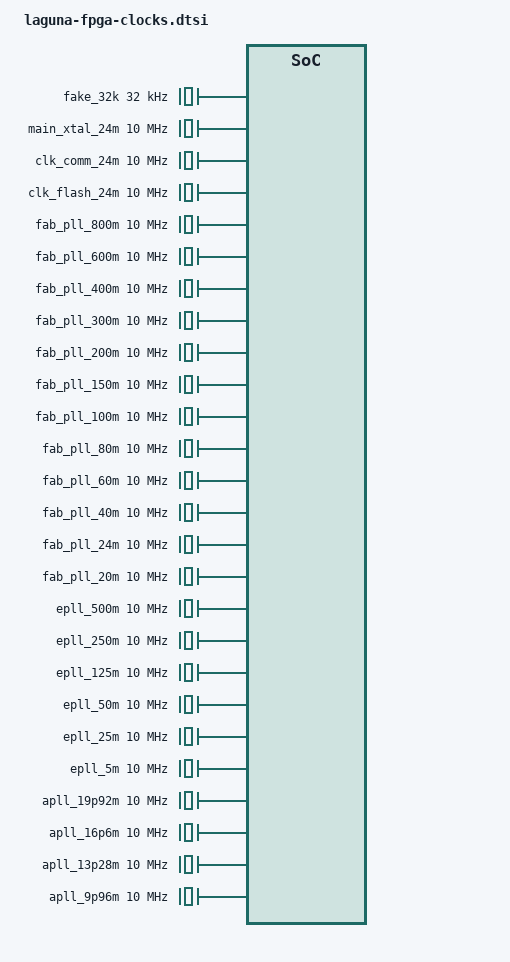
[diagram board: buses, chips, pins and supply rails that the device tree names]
/* SPDX-License-Identifier: GPL-2.0+
 *
 * Device Tree Source for Laguna HAPS FPGA clock tree
 *
 * Copyright (C) 2024 Charleye <wangkart@aliyun.com>
 */

/ {
	fake_32k: fake_32k {
		compatible = "fixed-clock";
		#clock-cells = <0>;
		clock-frequency = <32000>;
		clock-output-names = "fake_32k";
	};

	main_xtal_24m: main_xtal_24m {
		compatible = "fixed-clock";
		#clock-cells = <0>;
		clock-frequency = <10000000>;
		clock-output-names = "main_xtal_24m";
	};

	clk_comm_24m: clk_comm_24m {
		compatible = "fixed-clock";
		#clock-cells = <0>;
		clock-frequency = <10000000>;
		clock-output-names = "clk_comm_24m";
	};

	clk_flash_24m: clk_flash_24m {
		compatible = "fixed-clock";
		#clock-cells = <0>;
		clock-frequency = <10000000>;
		clock-output-names = "clk_flash_24m";
	};

	fab_pll_800m: fab_pll_800m {
		compatible = "fixed-clock";
		#clock-cells = <0>;
		clock-frequency = <10000000>;
		clock-output-names = "fab_pll_800m";
	};

	fab_pll_600m: fab_pll_600m {
		compatible = "fixed-clock";
		#clock-cells = <0>;
		clock-frequency = <10000000>;
		clock-output-names = "fab_pll_600m";
	};

	fab_pll_400m: fab_pll_400m {
		compatible = "fixed-clock";
		#clock-cells = <0>;
		clock-frequency = <10000000>;
		clock-output-names = "fab_pll_400m";
	};

	fab_pll_300m: fab_pll_300m {
		compatible = "fixed-clock";
		#clock-cells = <0>;
		clock-frequency = <10000000>;
		clock-output-names = "fab_pll_300m";
	};

	fab_pll_200m: fab_pll_200m {
		compatible = "fixed-clock";
		#clock-cells = <0>;
		clock-frequency = <10000000>;
		clock-output-names = "fab_pll_200m";
	};

	fab_pll_150m: fab_pll_150m {
		compatible = "fixed-clock";
		#clock-cells = <0>;
		clock-frequency = <10000000>;
		clock-output-names = "fab_pll_150m";
	};

	fab_pll_100m: fab_pll_100m {
		compatible = "fixed-clock";
		#clock-cells = <0>;
		clock-frequency = <10000000>;
		clock-output-names = "fab_pll_100m";
	};

	fab_pll_80m: fab_pll_80m {
		compatible = "fixed-clock";
		#clock-cells = <0>;
		clock-frequency = <10000000>;
		clock-output-names = "fab_pll_80m";
	};

	fab_pll_60m: fab_pll_60m {
		compatible = "fixed-clock";
		#clock-cells = <0>;
		clock-frequency = <10000000>;
		clock-output-names = "fab_pll_60m";
	};

	fab_pll_40m: fab_pll_40m {
		compatible = "fixed-clock";
		#clock-cells = <0>;
		clock-frequency = <10000000>;
		clock-output-names = "fab_pll_40m";
	};

	fab_pll_24m: fab_pll_24m {
		compatible = "fixed-clock";
		#clock-cells = <0>;
		clock-frequency = <10000000>;
		clock-output-names = "fab_pll_24m";
	};

	fab_pll_20m: fab_pll_20m {
		compatible = "fixed-clock";
		#clock-cells = <0>;
		clock-frequency = <10000000>;
		clock-output-names = "fab_pll_20m";
	};

	epll_500m: epll_500m {
		compatible = "fixed-clock";
		#clock-cells = <0>;
		clock-frequency = <10000000>;
		clock-output-names = "epll_500m";
	};

	epll_250m: epll_250m {
		compatible = "fixed-clock";
		#clock-cells = <0>;
		clock-frequency = <10000000>;
		clock-output-names = "epll_250m";
	};

	epll_125m: epll_125m {
		compatible = "fixed-clock";
		#clock-cells = <0>;
		clock-frequency = <10000000>;
		clock-output-names = "epll_125m";
	};

	epll_50m: epll_50m {
		compatible = "fixed-clock";
		#clock-cells = <0>;
		clock-frequency = <10000000>;
		clock-output-names = "epll_50m";
	};

	epll_25m: epll_25m {
		compatible = "fixed-clock";
		#clock-cells = <0>;
		clock-frequency = <10000000>;
		clock-output-names = "epll_25m";
	};

	epll_5m: epll_5m {
		compatible = "fixed-clock";
		#clock-cells = <0>;
		clock-frequency = <10000000>;
		clock-output-names = "epll_5m";
	};

	apll_19p92m: apll_19p92m {
		compatible = "fixed-clock";
		#clock-cells = <0>;
		clock-frequency = <10000000>;
		clock-output-names = "apll_19p92m";
	};

	apll_16p6m: apll_16p6m {
		compatible = "fixed-clock";
		#clock-cells = <0>;
		clock-frequency = <10000000>;
		clock-output-names = "apll_16p6m";
	};

	apll_13p28m: apll_13p28m {
		compatible = "fixed-clock";
		#clock-cells = <0>;
		clock-frequency = <10000000>;
		clock-output-names = "apll_13p28m";
	};

	apll_9p96m: apll_9p96m {
		compatible = "fixed-clock";
		#clock-cells = <0>;
		clock-frequency = <10000000>;
		clock-output-names = "apll_9p96m";
	};
};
